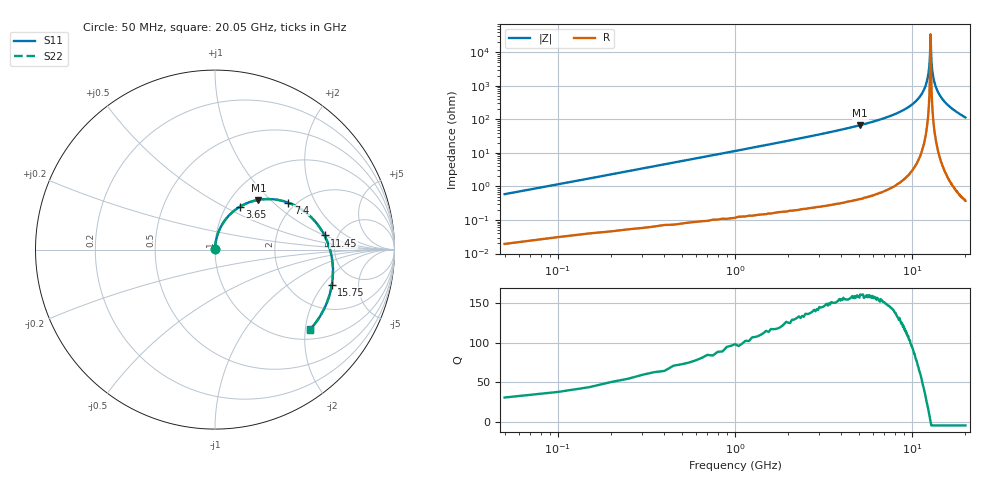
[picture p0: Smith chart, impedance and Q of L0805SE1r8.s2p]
! AVX Thin Film Operation		Date: May 2002
! Description: Accu-L® Series, Thin Film, SMD, RF Inductors
! Part Number: L08051R8CEWTR
! 50 MHz  -  20.05 GHz
! Serial Measurements
# mhz S db R 50
!	S11		S21		S12		S22
!	dB	Phase	dB	Phase	dB	Phase	dB	Phase
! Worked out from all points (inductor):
!   401 points, 50 MHz to 20.05 GHz, reference 50 ohm
!   read as 1/Y11, port 2 shorted: L = 1.83 nH near 150 MHz
!   highest Q = 161 at 5.1 GHz (marker M1), where L = 2.1 nH
!   self-resonance near 12.7 GHz
!   S11 on the Smith chart (normalised r, x): 50 MHz: 1.00, +0.01; 3.65 GHz: 1.16, +0.60; 7.4 GHz: 1.82, +1.25; 11.45 GHz: 3.93, +1.00; 15.75 GHz: 3.37, -2.44; 20.05 GHz: 1.25, -2.13
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50  -47.39 87.2  -0.00 -0.4  -0.00 -0.4  -47.39 87.2
100  -41.58 87.0  -0.00 -0.8  -0.00 -0.8  -41.58 87.0
200  -35.67 86.7  -0.01 -1.7  -0.01 -1.7  -35.67 86.7
250  -33.76 86.4  -0.01 -2.1  -0.01 -2.1  -33.76 86.4
350  -30.88 85.8  -0.01 -2.9  -0.01 -2.9  -30.88 85.8
450  -28.73 85.1  -0.01 -3.8  -0.01 -3.8  -28.73 85.1
600  -26.26 84.0  -0.02 -5.0  -0.02 -5.0  -26.26 84.0
900  -22.79 81.6  -0.03 -7.5  -0.03 -7.5  -22.79 81.6
1350  -19.33 78.1  -0.06 -11.2  -0.06 -11.2  -19.33 78.0
1900  -16.45 73.7  -0.11 -15.7  -0.11 -15.7  -16.45 73.6
2600  -13.86 68.1  -0.20 -21.4  -0.20 -21.4  -13.86 68.0
3400  -11.71 61.8  -0.32 -27.7  -0.32 -27.7  -11.71 61.7
3650  -11.16 59.9  -0.37 -29.7  -0.37 -29.7  -11.16 59.8
5100  -8.69 48.9  -0.66 -40.7  -0.66 -40.7  -8.69 48.8
6750  -6.84 37.1  -1.04 -52.5  -1.04 -52.5  -6.84 37.0
7400  -6.29 32.7  -1.19 -57.0  -1.19 -57.0  -6.29 32.6
10050  -4.74 15.7  -1.81 -74.1  -1.81 -74.1  -4.74 15.6
11450  -4.21 7.3  -2.10 -82.5  -2.10 -82.5  -4.21 7.2
13400  -3.71 -3.8  -2.44 -93.7  -2.44 -93.7  -3.71 -4.0
15750  -3.35 -16.7  -2.73 -106.6  -2.73 -106.6  -3.35 -16.9
16750  -3.26 -22.1  -2.81 -112.0  -2.81 -112.0  -3.26 -22.3
20050  -3.19 -39.8  -2.87 -129.8  -2.87 -129.8  -3.20 -40.0
